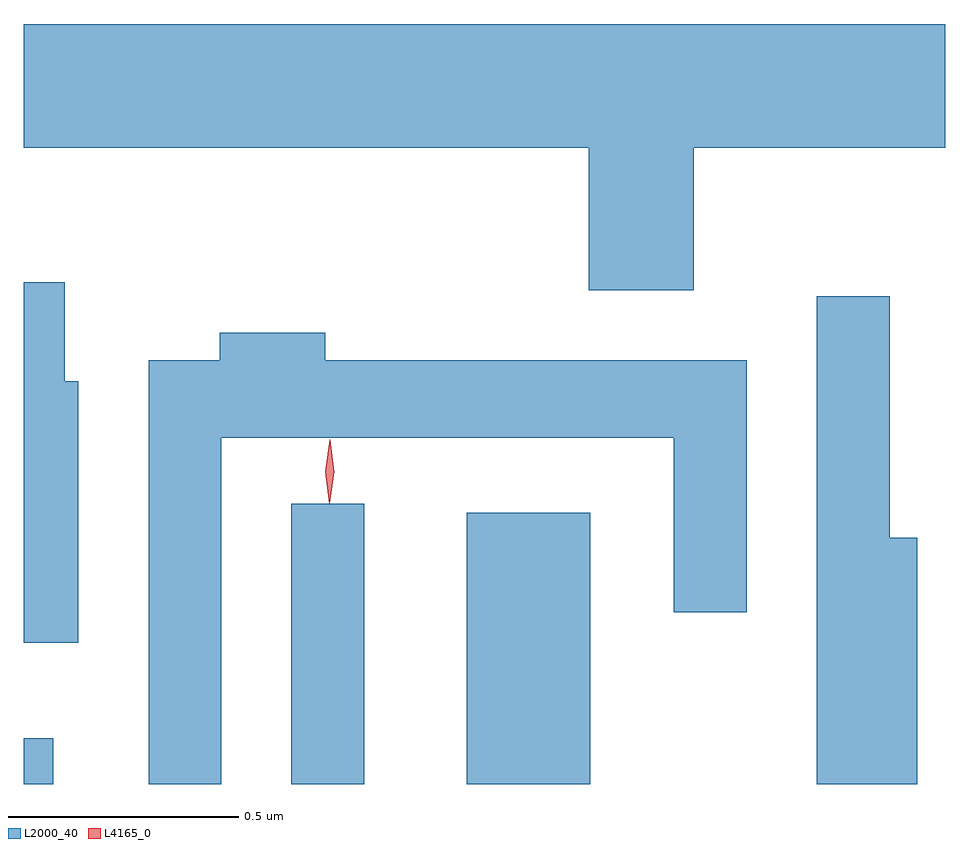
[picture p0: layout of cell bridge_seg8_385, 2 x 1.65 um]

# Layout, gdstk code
import gdstk
lib = gdstk.Library(unit=1e-6, precision=1e-09)
def R(c, l, rs):  # rectangles x0, y0, x1, y1
    for r in rs: c.add(gdstk.rectangle(r[:2], r[2:], *l))
def P(c, l, *ps):  # polygons
    for p in ps: c.add(gdstk.Polygon(p, *l))
L2000_40 = (2000, 40)
L4165_0 = (4165, 0)

bridge_seg8_385 = lib.new_cell('bridge_seg8_385')
R(bridge_seg8_385, L2000_40, [(690.115,1883.875,690.179,1883.974), (690.696,1883.875,690.854,1884.483), (691.076,1883.875,691.344,1884.464)])
P(bridge_seg8_385, L2000_40, [(691.569,1885.256),(692.115,1885.256),(692.115,1885.524),(690.115,1885.524),(690.115,1885.256),(691.341,1885.256),(691.341,1884.946),(691.569,1884.946)],
  [(690.234,1884.749),(690.204,1884.749),(690.204,1884.964),(690.115,1884.964),(690.115,1884.181),(690.234,1884.181)],
  [(692.054,1884.409),(691.994,1884.409),(691.994,1884.933),(691.836,1884.933),(691.836,1883.875),(692.054,1883.875)],
  [(690.544,1884.626),(691.526,1884.626),(691.526,1884.248),(691.684,1884.248),(691.684,1884.794),(690.769,1884.794),(690.769,1884.854),(690.541,1884.854),(690.541,1884.794),(690.386,1884.794),(690.386,1883.875),(690.544,1883.875)])
P(bridge_seg8_385, L4165_0, [(690.778,1884.483),(690.778,1884.484),(690.769,1884.553),(690.779,1884.622),(690.779,1884.623),(690.78,1884.622),(690.789,1884.553),(690.779,1884.484)],
  [(690.778,1884.487),(690.778,1884.487),(690.769,1884.553),(690.779,1884.62),(690.779,1884.62),(690.78,1884.62),(690.789,1884.553),(690.779,1884.487)])

lib.write_gds('bridge_seg8_385.gds')
